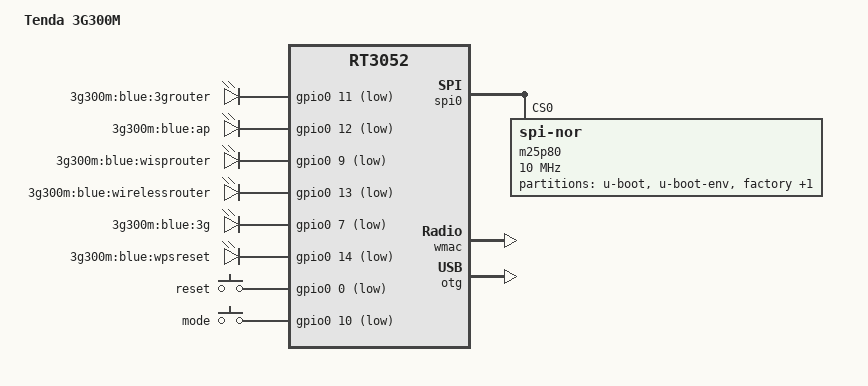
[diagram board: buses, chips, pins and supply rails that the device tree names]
/dts-v1/;

#include "rt3050.dtsi"

#include <dt-bindings/gpio/gpio.h>
#include <dt-bindings/input/input.h>

/ {
	compatible = "tenda,3g300m", "ralink,rt3052-soc";
	model = "Tenda 3G300M";

	aliases {
		led-boot = &led_ap;
		led-failsafe = &led_ap;
		led-running = &led_ap;
		led-upgrade = &led_ap;
	};

	gpio-leds {
		compatible = "gpio-leds";

		3grouter {
			label = "3g300m:blue:3grouter";
			gpios = <&gpio0 11 GPIO_ACTIVE_LOW>;
		};

		led_ap: ap {
			label = "3g300m:blue:ap";
			gpios = <&gpio0 12 GPIO_ACTIVE_LOW>;
		};

		wisprouter {
			label = "3g300m:blue:wisprouter";
			gpios = <&gpio0 9 GPIO_ACTIVE_LOW>;
		};

		wirelessrouter {
			label = "3g300m:blue:wirelessrouter";
			gpios = <&gpio0 13 GPIO_ACTIVE_LOW>;
		};

		3g {
			label = "3g300m:blue:3g";
			gpios = <&gpio0 7 GPIO_ACTIVE_LOW>;
			trigger-sources = <&otg_port1>;
			linux,default-trigger = "usbport";
		};

		wpsreset {
			label = "3g300m:blue:wpsreset";
			gpios = <&gpio0 14 GPIO_ACTIVE_LOW>;
		};
	};

	gpio-keys-polled {
		compatible = "gpio-keys-polled";
		poll-interval = <20>;

		reset {
			label = "reset";
			gpios = <&gpio0 0 GPIO_ACTIVE_LOW>;
			linux,code = <KEY_RESTART>;
		};

		mode {
			label = "mode";
			gpios = <&gpio0 10 GPIO_ACTIVE_LOW>;
			linux,code = <BTN_0>;
		};
	};
};

&spi0 {
	status = "okay";

	m25p80@0 {
		compatible = "jedec,spi-nor";
		reg = <0>;
		spi-max-frequency = <10000000>;

		partitions {
			compatible = "fixed-partitions";
			#address-cells = <1>;
			#size-cells = <1>;

			partition@0 {
				label = "u-boot";
				reg = <0x0 0x30000>;
				read-only;
			};

			partition@30000 {
				label = "u-boot-env";
				reg = <0x30000 0x10000>;
				read-only;
			};

			factory: partition@40000 {
				label = "factory";
				reg = <0x40000 0x10000>;
				read-only;
			};

			partition@50000 {
				label = "firmware";
				reg = <0x50000 0x3b0000>;
			};
		};
	};
};

&pinctrl {
	state_default: pinctrl0 {
		gpio {
			ralink,group = "i2c", "jtag", "rgmii", "mdio", "uartf";
			ralink,function = "gpio";
		};
	};
};

&ethernet {
	mtd-mac-address = <&factory 0x4>;
};

&esw {
	mediatek,portmap = <0x2f>;
};

&wmac {
	ralink,mtd-eeprom = <&factory 0>;
};

&otg {
	status = "okay";
};
